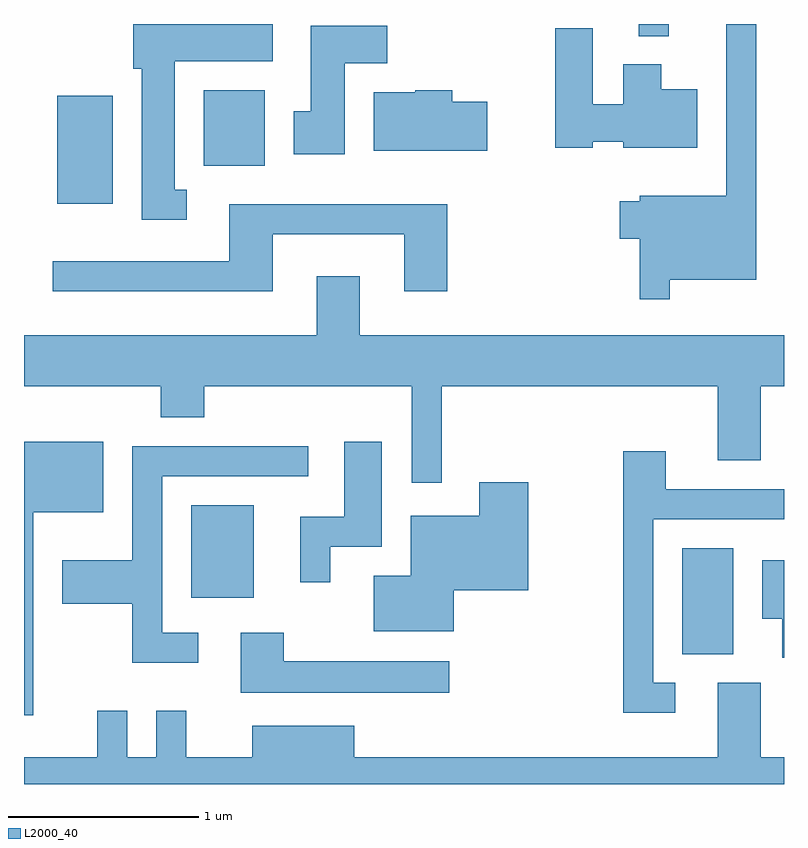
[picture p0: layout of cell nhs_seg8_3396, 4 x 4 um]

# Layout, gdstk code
import gdstk
lib = gdstk.Library(unit=1e-6, precision=1e-09)
def R(c, l, rs):  # rectangles x0, y0, x1, y1
    for r in rs: c.add(gdstk.rectangle(r[:2], r[2:], *l))
def P(c, l, *ps):  # polygons
    for p in ps: c.add(gdstk.Polygon(p, *l))
L2000_40 = (2000, 40)

nhs_seg8_3396 = lib.new_cell('nhs_seg8_3396')
R(nhs_seg8_3396, L2000_40, [(291.076,1815.026,291.344,1815.584), (288.491,1815.321,288.819,1815.809), (287.786,1817.396,288.079,1817.964), (288.556,1817.596,288.879,1817.994), (290.846,1818.278,291.004,1818.342)])
P(nhs_seg8_3396, L2000_40, [(288.468,1817.469),(288.404,1817.469),(288.404,1818.146),(288.919,1818.146),(288.919,1818.342),(288.186,1818.342),(288.186,1818.106),(288.231,1818.106),(288.231,1817.311),(288.468,1817.311)],
  [(291.009,1816.996),(291.464,1816.996),(291.464,1818.342),(291.306,1818.342),(291.306,1817.439),(290.851,1817.439),(290.851,1817.409),(290.746,1817.409),(290.746,1817.211),(290.851,1817.211),(290.851,1816.893),(291.009,1816.893)],
  [(289.299,1818.136),(289.524,1818.136),(289.524,1818.334),(289.121,1818.334),(289.121,1817.884),(289.031,1817.884),(289.031,1817.656),(289.299,1817.656)],
  [(290.604,1817.721),(290.766,1817.721),(290.766,1817.691),(291.154,1817.691),(291.154,1817.999),(290.964,1817.999),(290.964,1818.129),(290.766,1818.129),(290.766,1817.919),(290.604,1817.919),(290.604,1818.319),(290.406,1818.319),(290.406,1817.691),(290.604,1817.691)],
  [(290.049,1817.934),(289.864,1817.934),(289.864,1817.994),(289.67,1817.994),(289.67,1817.984),(289.451,1817.984),(289.451,1817.676),(290.049,1817.676)],
  [(288.919,1817.236),(289.611,1817.236),(289.611,1816.936),(289.839,1816.936),(289.839,1817.394),(288.691,1817.394),(288.691,1817.094),(287.763,1817.094),(287.763,1816.936),(288.919,1816.936)],
  [(289.809,1816.436),(291.261,1816.436),(291.261,1816.046),(291.489,1816.046),(291.489,1816.436),(291.611,1816.436),(291.611,1816.704),(289.379,1816.704),(289.379,1817.014),(289.151,1817.014),(289.151,1816.704),(287.611,1816.704),(287.611,1816.436),(288.331,1816.436),(288.331,1816.271),(288.559,1816.271),(288.559,1816.436),(289.651,1816.436),(289.651,1815.928),(289.809,1815.928)],
  [(287.659,1815.771),(288.029,1815.771),(288.029,1816.144),(287.611,1816.144),(287.611,1814.703),(287.659,1814.703)],
  [(289.224,1815.591),(289.494,1815.591),(289.494,1816.144),(289.296,1816.144),(289.296,1815.749),(289.066,1815.749),(289.066,1815.403),(289.224,1815.403)],
  [(288.528,1815.139),(288.339,1815.139),(288.339,1815.961),(289.108,1815.961),(289.108,1816.119),(288.181,1816.119),(288.181,1815.519),(287.811,1815.519),(287.811,1815.291),(288.181,1815.291),(288.181,1814.981),(288.528,1814.981)],
  [(291.038,1814.874),(290.924,1814.874),(290.924,1815.736),(291.611,1815.736),(291.611,1815.894),(290.989,1815.894),(290.989,1816.094),(290.766,1816.094),(290.766,1814.716),(291.038,1814.716)],
  [(289.874,1815.361),(290.264,1815.361),(290.264,1815.929),(290.006,1815.929),(290.006,1815.754),(289.646,1815.754),(289.646,1815.439),(289.451,1815.439),(289.451,1815.146),(289.874,1815.146)],
  [(291.611,1815.519),(291.496,1815.519),(291.496,1815.211),(291.601,1815.211),(291.601,1815.006),(291.611,1815.006)],
  [(289.848,1814.989),(288.979,1814.989),(288.979,1815.139),(288.751,1815.139),(288.751,1814.821),(289.848,1814.821)],
  [(291.611,1814.484),(291.489,1814.484),(291.489,1814.874),(291.261,1814.874),(291.261,1814.484),(289.349,1814.484),(289.349,1814.649),(288.811,1814.649),(288.811,1814.484),(288.464,1814.484),(288.464,1814.728),(288.306,1814.728),(288.306,1814.484),(288.154,1814.484),(288.154,1814.728),(287.996,1814.728),(287.996,1814.484),(287.611,1814.484),(287.611,1814.342),(291.611,1814.342)])

lib.write_gds('nhs_seg8_3396.gds')
